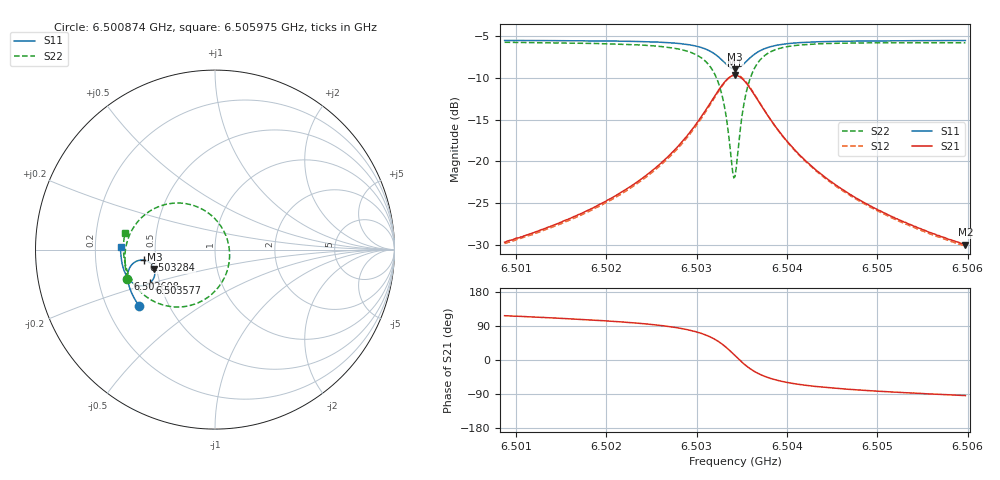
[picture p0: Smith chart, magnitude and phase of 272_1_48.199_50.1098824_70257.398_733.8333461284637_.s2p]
#  HZ  S  RI  R  50.00
! Rohde & Schwarz Vector Network Analyzer
! Rohde-Schwarz,ZNB20-2Port,1311601062101988,3.16
! Created: UTC 3/20/2024, 11:48:12 AM
! freq[Hz]  re:S11  im:S11  re:S21  im:S21  re:S12  im:S12  re:S22  im:S22
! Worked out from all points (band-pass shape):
!   401 points, 6.500874 GHz to 6.505975 GHz, reference 50 ohm
!   highest |S21| = -9.72 dB at 6.503424 GHz (marker M1); lowest = -29.9 dB at 6.505975 GHz (marker M2)
!   |S21| within 3 dB of the highest: 6.503168 GHz to 6.503679 GHz (510.6 kHz wide, 0.00785 % of centre)
!   lowest |S11| = -9.0 dB at 6.503424 GHz (marker M3), VSWR 2.10, Z = 24.2 - j6.02 ohm
!   |S11| at or under -10 dB: nowhere
!   |S22| runs from -22.0 to -5.8 dB; largest |S21 - S12| = 0.011
!   S11 on the Smith chart (normalised r, x): 6.500874 GHz: 0.34, -0.30; 6.502608 GHz: 0.33, -0.15; 6.503284 GHz: 0.43, -0.06; 6.503577 GHz: 0.44, -0.20; 6.505975 GHz: 0.31, +0.01
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6.5008738e9  -0.4227 -0.3141  -0.0149 0.0295  -0.0133 0.0296  -0.4877 -0.1611
6.5017281e9  -0.46 -0.2516  -0.0143 0.047  -0.012 0.0466  -0.5021 -0.0715
6.5022127e9  -0.4772 -0.2089  -0.0113 0.067  -0.00838 0.0659  -0.4993 -0.00322
6.5025825e9  -0.4862 -0.1683  -0.00269 0.0953  0.000904 0.093  -0.4808 0.0698
6.502608e9  -0.4865 -0.165  -0.00156 0.098  0.00198 0.0957  -0.4785 0.076
6.5028503e9  -0.4851 -0.1293  0.0177 0.1322  0.0216 0.1282  -0.4375 0.1467
6.5030288e9  -0.4723 -0.0958  0.055 0.1691  0.058 0.1634  -0.3648 0.2135
6.5031819e9  -0.4389 -0.0654  0.1288 0.1992  0.1301 0.1927  -0.2291 0.2587
6.5032839e9  -0.3962 -0.0588  0.2143 0.1899  0.2146 0.1845  -0.0807 0.2301
6.5033349e9  -0.3706 -0.0676  0.2624 0.1617  0.2633 0.1572  -0.000688 0.1724
6.5033986e9  -0.3443 -0.094  0.3097 0.0982  0.3122 0.0931  0.0704 0.05
6.5034241e9  -0.3381 -0.1085  0.3197 0.0661  0.3229 0.0602  0.0808 -0.00965
6.5034496e9  -0.3351 -0.1241  0.3233 0.0328  0.3266 0.0258  0.0787 -0.0705
6.5035134e9  -0.3423 -0.1608  0.305 -0.0445  0.307 -0.0544  0.0231 -0.2044
6.5035772e9  -0.3634 -0.1864  0.2624 -0.0981  0.2612 -0.1091  -0.0729 -0.2861
6.5036792e9  -0.4026 -0.2015  0.1884 -0.1337  0.183 -0.1431  -0.2216 -0.3196
6.503845e9  -0.4483 -0.1917  0.1074 -0.1308  0.1006 -0.1356  -0.3673 -0.2732
6.5040235e9  -0.4756 -0.1703  0.0633 -0.1108  0.0573 -0.113  -0.4387 -0.2086
6.5042785e9  -0.4962 -0.1404  0.0337 -0.0869  0.0289 -0.0873  -0.4817 -0.1369
6.5046866e9  -0.5124 -0.0984  0.0138 -0.0628  0.0108 -0.0624  -0.5046 -0.0582
6.5051329e9  -0.5212 -0.0574  0.00501 -0.0475  0.00273 -0.0467  -0.5101 0.00341
6.5059745e9  -0.5259 0.0136  -0.00216 -0.0319  -0.00341 -0.0311  -0.502 0.0916
